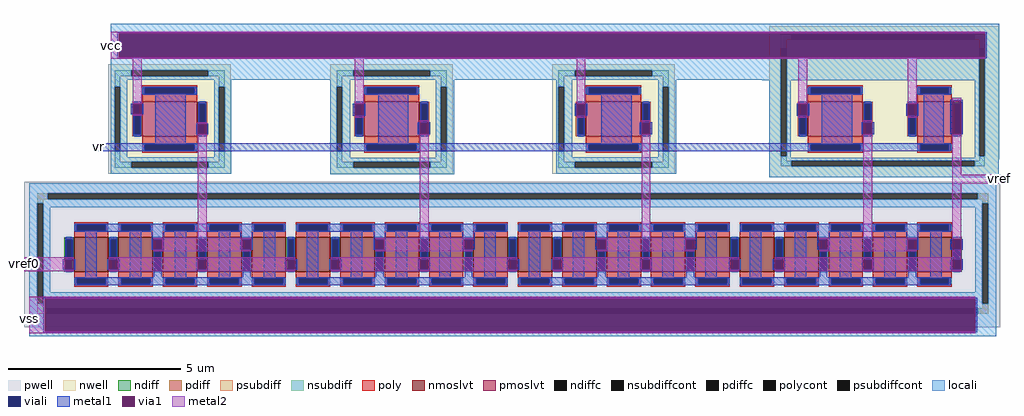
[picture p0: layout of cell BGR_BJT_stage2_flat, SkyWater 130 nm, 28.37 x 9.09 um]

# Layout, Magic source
magic
tech sky130A
magscale 1 2
<< nwell >>
rect -437 1479 275 2117
rect 853 1479 1565 2117
rect 2143 1479 2855 2117
rect 3404 1459 4739 2338
<< pwell >>
rect -928 587 4746 1434
<< pmoslvt >>
rect -241 1698 79 1898
rect 1049 1698 1369 1898
rect 2339 1698 2659 1898
rect 3629 1698 3949 1898
rect 4265 1698 4465 1898
<< nmoslvt >>
rect -637 911 -437 1111
rect -379 911 -179 1111
rect -121 911 79 1111
rect 137 911 337 1111
rect 395 911 595 1111
rect 653 911 853 1111
rect 911 911 1111 1111
rect 1169 911 1369 1111
rect 1427 911 1627 1111
rect 1685 911 1885 1111
rect 1943 911 2143 1111
rect 2201 911 2401 1111
rect 2459 911 2659 1111
rect 2717 911 2917 1111
rect 2975 911 3175 1111
rect 3233 911 3433 1111
rect 3491 911 3691 1111
rect 3749 911 3949 1111
rect 4007 911 4207 1111
rect 4265 911 4465 1111
<< ndiff >>
rect -695 1099 -637 1111
rect -695 923 -683 1099
rect -649 923 -637 1099
rect -695 911 -637 923
rect -437 1099 -379 1111
rect -437 923 -425 1099
rect -391 923 -379 1099
rect -437 911 -379 923
rect -179 1099 -121 1111
rect -179 923 -167 1099
rect -133 923 -121 1099
rect -179 911 -121 923
rect 79 1099 137 1111
rect 79 923 91 1099
rect 125 923 137 1099
rect 79 911 137 923
rect 337 1099 395 1111
rect 337 923 349 1099
rect 383 923 395 1099
rect 337 911 395 923
rect 595 1099 653 1111
rect 595 923 607 1099
rect 641 923 653 1099
rect 595 911 653 923
rect 853 1099 911 1111
rect 853 923 865 1099
rect 899 923 911 1099
rect 853 911 911 923
rect 1111 1099 1169 1111
rect 1111 923 1123 1099
rect 1157 923 1169 1099
rect 1111 911 1169 923
rect 1369 1099 1427 1111
rect 1369 923 1381 1099
rect 1415 923 1427 1099
rect 1369 911 1427 923
rect 1627 1099 1685 1111
rect 1627 923 1639 1099
rect 1673 923 1685 1099
rect 1627 911 1685 923
rect 1885 1099 1943 1111
rect 1885 923 1897 1099
rect 1931 923 1943 1099
rect 1885 911 1943 923
rect 2143 1099 2201 1111
rect 2143 923 2155 1099
rect 2189 923 2201 1099
rect 2143 911 2201 923
rect 2401 1099 2459 1111
rect 2401 923 2413 1099
rect 2447 923 2459 1099
rect 2401 911 2459 923
rect 2659 1099 2717 1111
rect 2659 923 2671 1099
rect 2705 923 2717 1099
rect 2659 911 2717 923
rect 2917 1099 2975 1111
rect 2917 923 2929 1099
rect 2963 923 2975 1099
rect 2917 911 2975 923
rect 3175 1099 3233 1111
rect 3175 923 3187 1099
rect 3221 923 3233 1099
rect 3175 911 3233 923
rect 3433 1099 3491 1111
rect 3433 923 3445 1099
rect 3479 923 3491 1099
rect 3433 911 3491 923
rect 3691 1099 3749 1111
rect 3691 923 3703 1099
rect 3737 923 3749 1099
rect 3691 911 3749 923
rect 3949 1099 4007 1111
rect 3949 923 3961 1099
rect 3995 923 4007 1099
rect 3949 911 4007 923
rect 4207 1099 4265 1111
rect 4207 923 4219 1099
rect 4253 923 4265 1099
rect 4207 911 4265 923
rect 4465 1099 4523 1111
rect 4465 923 4477 1099
rect 4511 923 4523 1099
rect 4465 911 4523 923
<< pdiff >>
rect -299 1886 -241 1898
rect -299 1710 -287 1886
rect -253 1710 -241 1886
rect -299 1698 -241 1710
rect 79 1886 137 1898
rect 79 1710 91 1886
rect 125 1710 137 1886
rect 79 1698 137 1710
rect 991 1886 1049 1898
rect 991 1710 1003 1886
rect 1037 1710 1049 1886
rect 991 1698 1049 1710
rect 1369 1886 1427 1898
rect 1369 1710 1381 1886
rect 1415 1710 1427 1886
rect 1369 1698 1427 1710
rect 2281 1886 2339 1898
rect 2281 1710 2293 1886
rect 2327 1710 2339 1886
rect 2281 1698 2339 1710
rect 2659 1886 2717 1898
rect 2659 1710 2671 1886
rect 2705 1710 2717 1886
rect 2659 1698 2717 1710
rect 3571 1886 3629 1898
rect 3571 1710 3583 1886
rect 3617 1710 3629 1886
rect 3571 1698 3629 1710
rect 3949 1886 4007 1898
rect 3949 1710 3961 1886
rect 3995 1710 4007 1886
rect 3949 1698 4007 1710
rect 4207 1886 4265 1898
rect 4207 1710 4219 1886
rect 4253 1710 4265 1886
rect 4207 1698 4265 1710
rect 4465 1886 4523 1898
rect 4465 1710 4477 1886
rect 4511 1710 4523 1886
rect 4465 1698 4523 1710
<< ndiffc >>
rect -683 923 -649 1099
rect -425 923 -391 1099
rect -167 923 -133 1099
rect 91 923 125 1099
rect 349 923 383 1099
rect 607 923 641 1099
rect 865 923 899 1099
rect 1123 923 1157 1099
rect 1381 923 1415 1099
rect 1639 923 1673 1099
rect 1897 923 1931 1099
rect 2155 923 2189 1099
rect 2413 923 2447 1099
rect 2671 923 2705 1099
rect 2929 923 2963 1099
rect 3187 923 3221 1099
rect 3445 923 3479 1099
rect 3703 923 3737 1099
rect 3961 923 3995 1099
rect 4219 923 4253 1099
rect 4477 923 4511 1099
<< pdiffc >>
rect -287 1710 -253 1886
rect 91 1710 125 1886
rect 1003 1710 1037 1886
rect 1381 1710 1415 1886
rect 2293 1710 2327 1886
rect 2671 1710 2705 1886
rect 3583 1710 3617 1886
rect 3961 1710 3995 1886
rect 4219 1710 4253 1886
rect 4477 1710 4511 1886
<< psubdiff >>
rect -850 1333 -790 1367
rect 4618 1333 4678 1367
rect -850 1307 -816 1333
rect 4644 1307 4678 1333
rect -850 699 -816 725
rect 4644 699 4678 725
rect -850 665 -790 699
rect 4618 665 4678 699
<< nsubdiff >>
rect 3472 2260 3532 2294
rect 4598 2260 4658 2294
rect 3472 2206 3506 2260
rect -401 2047 -305 2081
rect 143 2047 239 2081
rect -401 1985 -367 2047
rect 205 1985 239 2047
rect -401 1549 -367 1611
rect 205 1549 239 1611
rect -401 1515 -305 1549
rect 143 1515 239 1549
rect 889 2047 985 2081
rect 1433 2047 1529 2081
rect 889 1985 923 2047
rect 1495 1985 1529 2047
rect 889 1549 923 1611
rect 1495 1549 1529 1611
rect 889 1515 985 1549
rect 1433 1515 1529 1549
rect 2179 2047 2275 2081
rect 2723 2047 2819 2081
rect 2179 1985 2213 2047
rect 2785 1985 2819 2047
rect 2179 1549 2213 1611
rect 2785 1549 2819 1611
rect 2179 1515 2275 1549
rect 2723 1515 2819 1549
rect 4624 2206 4658 2260
rect 3472 1556 3506 1582
rect 4624 1556 4658 1582
rect 3472 1522 3532 1556
rect 4598 1522 4658 1556
<< psubdiffcont >>
rect -790 1333 4618 1367
rect -850 725 -816 1307
rect 4644 725 4678 1307
rect -790 665 4618 699
<< nsubdiffcont >>
rect 3532 2260 4598 2294
rect -305 2047 143 2081
rect -401 1611 -367 1985
rect 205 1611 239 1985
rect -305 1515 143 1549
rect 985 2047 1433 2081
rect 889 1611 923 1985
rect 1495 1611 1529 1985
rect 985 1515 1433 1549
rect 2275 2047 2723 2081
rect 2179 1611 2213 1985
rect 2785 1611 2819 1985
rect 2275 1515 2723 1549
rect 3472 1582 3506 2206
rect 4624 1582 4658 2206
rect 3532 1522 4598 1556
<< poly >>
rect -241 1979 79 1995
rect -241 1945 -225 1979
rect 63 1945 79 1979
rect -241 1898 79 1945
rect -241 1651 79 1698
rect -241 1617 -225 1651
rect 63 1617 79 1651
rect -241 1601 79 1617
rect 1049 1979 1369 1995
rect 1049 1945 1065 1979
rect 1353 1945 1369 1979
rect 1049 1898 1369 1945
rect 1049 1651 1369 1698
rect 1049 1617 1065 1651
rect 1353 1617 1369 1651
rect 1049 1601 1369 1617
rect 2339 1979 2659 1995
rect 2339 1945 2355 1979
rect 2643 1945 2659 1979
rect 2339 1898 2659 1945
rect 2339 1651 2659 1698
rect 2339 1617 2355 1651
rect 2643 1617 2659 1651
rect 2339 1601 2659 1617
rect 3629 1979 3949 1995
rect 3629 1945 3645 1979
rect 3933 1945 3949 1979
rect 3629 1898 3949 1945
rect 4265 1979 4465 1995
rect 4265 1945 4281 1979
rect 4449 1945 4465 1979
rect 4265 1898 4465 1945
rect 3629 1651 3949 1698
rect 3629 1617 3645 1651
rect 3933 1617 3949 1651
rect 3629 1601 3949 1617
rect 4265 1651 4465 1698
rect 4265 1617 4281 1651
rect 4449 1617 4465 1651
rect 4265 1601 4465 1617
rect -637 1183 -437 1199
rect -637 1149 -621 1183
rect -453 1149 -437 1183
rect -637 1111 -437 1149
rect -379 1183 -179 1199
rect -379 1149 -363 1183
rect -195 1149 -179 1183
rect -379 1111 -179 1149
rect -121 1183 79 1199
rect -121 1149 -105 1183
rect 63 1149 79 1183
rect -121 1111 79 1149
rect 137 1183 337 1199
rect 137 1149 153 1183
rect 321 1149 337 1183
rect 137 1111 337 1149
rect 395 1183 595 1199
rect 395 1149 411 1183
rect 579 1149 595 1183
rect 395 1111 595 1149
rect 653 1183 853 1199
rect 653 1149 669 1183
rect 837 1149 853 1183
rect 653 1111 853 1149
rect 911 1183 1111 1199
rect 911 1149 927 1183
rect 1095 1149 1111 1183
rect 911 1111 1111 1149
rect 1169 1183 1369 1199
rect 1169 1149 1185 1183
rect 1353 1149 1369 1183
rect 1169 1111 1369 1149
rect 1427 1183 1627 1199
rect 1427 1149 1443 1183
rect 1611 1149 1627 1183
rect 1427 1111 1627 1149
rect 1685 1183 1885 1199
rect 1685 1149 1701 1183
rect 1869 1149 1885 1183
rect 1685 1111 1885 1149
rect 1943 1183 2143 1199
rect 1943 1149 1959 1183
rect 2127 1149 2143 1183
rect 1943 1111 2143 1149
rect 2201 1183 2401 1199
rect 2201 1149 2217 1183
rect 2385 1149 2401 1183
rect 2201 1111 2401 1149
rect 2459 1183 2659 1199
rect 2459 1149 2475 1183
rect 2643 1149 2659 1183
rect 2459 1111 2659 1149
rect 2717 1183 2917 1199
rect 2717 1149 2733 1183
rect 2901 1149 2917 1183
rect 2717 1111 2917 1149
rect 2975 1183 3175 1199
rect 2975 1149 2991 1183
rect 3159 1149 3175 1183
rect 2975 1111 3175 1149
rect 3233 1183 3433 1199
rect 3233 1149 3249 1183
rect 3417 1149 3433 1183
rect 3233 1111 3433 1149
rect 3491 1183 3691 1199
rect 3491 1149 3507 1183
rect 3675 1149 3691 1183
rect 3491 1111 3691 1149
rect 3749 1183 3949 1199
rect 3749 1149 3765 1183
rect 3933 1149 3949 1183
rect 3749 1111 3949 1149
rect 4007 1183 4207 1199
rect 4007 1149 4023 1183
rect 4191 1149 4207 1183
rect 4007 1111 4207 1149
rect 4265 1183 4465 1199
rect 4265 1149 4281 1183
rect 4449 1149 4465 1183
rect 4265 1111 4465 1149
rect -637 873 -437 911
rect -637 839 -621 873
rect -453 839 -437 873
rect -637 823 -437 839
rect -379 873 -179 911
rect -379 839 -363 873
rect -195 839 -179 873
rect -379 823 -179 839
rect -121 873 79 911
rect -121 839 -105 873
rect 63 839 79 873
rect -121 823 79 839
rect 137 873 337 911
rect 137 839 153 873
rect 321 839 337 873
rect 137 823 337 839
rect 395 873 595 911
rect 395 839 411 873
rect 579 839 595 873
rect 395 823 595 839
rect 653 873 853 911
rect 653 839 669 873
rect 837 839 853 873
rect 653 823 853 839
rect 911 873 1111 911
rect 911 839 927 873
rect 1095 839 1111 873
rect 911 823 1111 839
rect 1169 873 1369 911
rect 1169 839 1185 873
rect 1353 839 1369 873
rect 1169 823 1369 839
rect 1427 873 1627 911
rect 1427 839 1443 873
rect 1611 839 1627 873
rect 1427 823 1627 839
rect 1685 873 1885 911
rect 1685 839 1701 873
rect 1869 839 1885 873
rect 1685 823 1885 839
rect 1943 873 2143 911
rect 1943 839 1959 873
rect 2127 839 2143 873
rect 1943 823 2143 839
rect 2201 873 2401 911
rect 2201 839 2217 873
rect 2385 839 2401 873
rect 2201 823 2401 839
rect 2459 873 2659 911
rect 2459 839 2475 873
rect 2643 839 2659 873
rect 2459 823 2659 839
rect 2717 873 2917 911
rect 2717 839 2733 873
rect 2901 839 2917 873
rect 2717 823 2917 839
rect 2975 873 3175 911
rect 2975 839 2991 873
rect 3159 839 3175 873
rect 2975 823 3175 839
rect 3233 873 3433 911
rect 3233 839 3249 873
rect 3417 839 3433 873
rect 3233 823 3433 839
rect 3491 873 3691 911
rect 3491 839 3507 873
rect 3675 839 3691 873
rect 3491 823 3691 839
rect 3749 873 3949 911
rect 3749 839 3765 873
rect 3933 839 3949 873
rect 3749 823 3949 839
rect 4007 873 4207 911
rect 4007 839 4023 873
rect 4191 839 4207 873
rect 4007 823 4207 839
rect 4265 873 4465 911
rect 4265 839 4281 873
rect 4449 839 4465 873
rect 4265 823 4465 839
<< polycont >>
rect -225 1945 63 1979
rect -225 1617 63 1651
rect 1065 1945 1353 1979
rect 1065 1617 1353 1651
rect 2355 1945 2643 1979
rect 2355 1617 2643 1651
rect 3645 1945 3933 1979
rect 4281 1945 4449 1979
rect 3645 1617 3933 1651
rect 4281 1617 4449 1651
rect -621 1149 -453 1183
rect -363 1149 -195 1183
rect -105 1149 63 1183
rect 153 1149 321 1183
rect 411 1149 579 1183
rect 669 1149 837 1183
rect 927 1149 1095 1183
rect 1185 1149 1353 1183
rect 1443 1149 1611 1183
rect 1701 1149 1869 1183
rect 1959 1149 2127 1183
rect 2217 1149 2385 1183
rect 2475 1149 2643 1183
rect 2733 1149 2901 1183
rect 2991 1149 3159 1183
rect 3249 1149 3417 1183
rect 3507 1149 3675 1183
rect 3765 1149 3933 1183
rect 4023 1149 4191 1183
rect 4281 1149 4449 1183
rect -621 839 -453 873
rect -363 839 -195 873
rect -105 839 63 873
rect 153 839 321 873
rect 411 839 579 873
rect 669 839 837 873
rect 927 839 1095 873
rect 1185 839 1353 873
rect 1443 839 1611 873
rect 1701 839 1869 873
rect 1959 839 2127 873
rect 2217 839 2385 873
rect 2475 839 2643 873
rect 2733 839 2901 873
rect 2991 839 3159 873
rect 3249 839 3417 873
rect 3507 839 3675 873
rect 3765 839 3933 873
rect 4023 839 4191 873
rect 4281 839 4449 873
<< locali >>
rect -423 2296 4741 2352
rect -423 2157 -374 2296
rect -423 2081 3472 2157
rect -423 2047 -305 2081
rect 143 2047 985 2081
rect 1433 2047 2275 2081
rect 2723 2047 3472 2081
rect -423 2027 3472 2047
rect -423 1985 -329 2027
rect -423 1611 -401 1985
rect -367 1611 -329 1985
rect 177 1985 278 2027
rect -241 1945 -225 1979
rect 63 1945 79 1979
rect -287 1886 -253 1902
rect -287 1694 -253 1710
rect 91 1886 125 1902
rect 91 1694 125 1710
rect -241 1617 -225 1651
rect 63 1617 79 1651
rect -423 1576 -329 1611
rect 177 1611 205 1985
rect 239 1611 278 1985
rect 177 1576 278 1611
rect -423 1549 278 1576
rect -423 1515 -305 1549
rect 143 1515 278 1549
rect -423 1479 278 1515
rect 852 1985 968 2027
rect 852 1611 889 1985
rect 923 1611 968 1985
rect 1465 1985 1572 2027
rect 1049 1945 1065 1979
rect 1353 1945 1369 1979
rect 1003 1886 1037 1902
rect 1003 1694 1037 1710
rect 1381 1886 1415 1902
rect 1381 1694 1415 1710
rect 1049 1617 1065 1651
rect 1353 1617 1369 1651
rect 852 1573 968 1611
rect 1465 1611 1495 1985
rect 1529 1611 1572 1985
rect 1465 1573 1572 1611
rect 852 1549 1572 1573
rect 852 1515 985 1549
rect 1433 1515 1572 1549
rect 852 1476 1572 1515
rect 2165 1985 2258 2027
rect 2165 1611 2179 1985
rect 2213 1611 2258 1985
rect 2758 1985 2865 2027
rect 3364 2023 3472 2027
rect 2339 1945 2355 1979
rect 2643 1945 2659 1979
rect 2293 1886 2327 1902
rect 2293 1694 2327 1710
rect 2671 1886 2705 1902
rect 2671 1694 2705 1710
rect 2339 1617 2355 1651
rect 2643 1617 2659 1651
rect 2165 1577 2258 1611
rect 2758 1611 2785 1985
rect 2819 1611 2865 1985
rect 2758 1577 2865 1611
rect 2165 1549 2865 1577
rect 2165 1515 2275 1549
rect 2723 1515 2865 1549
rect 2165 1480 2865 1515
rect 3404 1582 3472 2023
rect 3506 2023 4624 2157
rect 3506 1582 3530 2023
rect 3629 1945 3645 1979
rect 3933 1945 3949 1979
rect 4265 1945 4281 1979
rect 4449 1945 4465 1979
rect 3583 1886 3617 1902
rect 3583 1694 3617 1710
rect 3961 1886 3995 1902
rect 3961 1694 3995 1710
rect 4219 1886 4253 1902
rect 4219 1694 4253 1710
rect 4477 1886 4511 1902
rect 4477 1694 4511 1710
rect 3629 1617 3645 1651
rect 3933 1617 3949 1651
rect 4265 1617 4281 1651
rect 4449 1617 4465 1651
rect 3404 1572 3530 1582
rect 4598 1582 4624 2023
rect 4658 1582 4741 2296
rect 4598 1572 4741 1582
rect 3404 1563 4741 1572
rect 3404 1556 4740 1563
rect 3404 1522 3532 1556
rect 4598 1522 4740 1556
rect 3404 1459 4740 1522
rect -897 1367 4725 1425
rect -897 1333 -790 1367
rect 4618 1333 4725 1367
rect -897 1307 4725 1333
rect -897 725 -850 1307
rect -816 1286 4644 1307
rect -816 791 -774 1286
rect -637 1149 -621 1183
rect -453 1149 -437 1183
rect -379 1149 -363 1183
rect -195 1149 -179 1183
rect -121 1149 -105 1183
rect 63 1149 79 1183
rect 137 1149 153 1183
rect 321 1149 337 1183
rect 395 1149 411 1183
rect 579 1149 595 1183
rect 653 1149 669 1183
rect 837 1149 853 1183
rect 911 1149 927 1183
rect 1095 1149 1111 1183
rect 1169 1149 1185 1183
rect 1353 1149 1369 1183
rect 1427 1149 1443 1183
rect 1611 1149 1627 1183
rect 1685 1149 1701 1183
rect 1869 1149 1885 1183
rect 1943 1149 1959 1183
rect 2127 1149 2143 1183
rect 2201 1149 2217 1183
rect 2385 1149 2401 1183
rect 2459 1149 2475 1183
rect 2643 1149 2659 1183
rect 2717 1149 2733 1183
rect 2901 1149 2917 1183
rect 2975 1149 2991 1183
rect 3159 1149 3175 1183
rect 3233 1149 3249 1183
rect 3417 1149 3433 1183
rect 3491 1149 3507 1183
rect 3675 1149 3691 1183
rect 3749 1149 3765 1183
rect 3933 1149 3949 1183
rect 4007 1149 4023 1183
rect 4191 1149 4207 1183
rect 4265 1149 4281 1183
rect 4449 1149 4465 1183
rect -683 1099 -649 1115
rect -683 907 -649 923
rect -425 1099 -391 1115
rect -425 907 -391 923
rect -167 1099 -133 1115
rect -167 907 -133 923
rect 91 1099 125 1115
rect 91 907 125 923
rect 349 1099 383 1115
rect 349 907 383 923
rect 607 1099 641 1115
rect 607 907 641 923
rect 865 1099 899 1115
rect 865 907 899 923
rect 1123 1099 1157 1115
rect 1123 907 1157 923
rect 1381 1099 1415 1115
rect 1381 907 1415 923
rect 1639 1099 1673 1115
rect 1639 907 1673 923
rect 1897 1099 1931 1115
rect 1897 907 1931 923
rect 2155 1099 2189 1115
rect 2155 907 2189 923
rect 2413 1099 2447 1115
rect 2413 907 2447 923
rect 2671 1099 2705 1115
rect 2671 907 2705 923
rect 2929 1099 2963 1115
rect 2929 907 2963 923
rect 3187 1099 3221 1115
rect 3187 907 3221 923
rect 3445 1099 3479 1115
rect 3445 907 3479 923
rect 3703 1099 3737 1115
rect 3703 907 3737 923
rect 3961 1099 3995 1115
rect 3961 907 3995 923
rect 4219 1099 4253 1115
rect 4219 907 4253 923
rect 4477 1099 4511 1115
rect 4477 907 4511 923
rect -637 839 -621 873
rect -453 839 -437 873
rect -379 839 -363 873
rect -195 839 -179 873
rect -121 839 -105 873
rect 63 839 79 873
rect 137 839 153 873
rect 321 839 337 873
rect 395 839 411 873
rect 579 839 595 873
rect 653 839 669 873
rect 837 839 853 873
rect 911 839 927 873
rect 1095 839 1111 873
rect 1169 839 1185 873
rect 1353 839 1369 873
rect 1427 839 1443 873
rect 1611 839 1627 873
rect 1685 839 1701 873
rect 1869 839 1885 873
rect 1943 839 1959 873
rect 2127 839 2143 873
rect 2201 839 2217 873
rect 2385 839 2401 873
rect 2459 839 2475 873
rect 2643 839 2659 873
rect 2717 839 2733 873
rect 2901 839 2917 873
rect 2975 839 2991 873
rect 3159 839 3175 873
rect 3233 839 3249 873
rect 3417 839 3433 873
rect 3491 839 3507 873
rect 3675 839 3691 873
rect 3749 839 3765 873
rect 3933 839 3949 873
rect 4007 839 4023 873
rect 4191 839 4207 873
rect 4265 839 4281 873
rect 4449 839 4465 873
rect 4602 791 4644 1286
rect -816 754 4644 791
rect -816 725 -804 754
rect -897 563 -804 725
rect 4603 725 4644 754
rect 4678 725 4725 1307
rect 4603 699 4725 725
rect 4618 665 4725 699
rect 4603 563 4725 665
rect -897 535 4725 563
<< viali >>
rect -374 2294 4658 2296
rect -374 2260 3532 2294
rect 3532 2260 4598 2294
rect 4598 2260 4658 2294
rect -374 2206 4658 2260
rect -374 2157 3472 2206
rect 3472 2157 3506 2206
rect 3506 2157 4624 2206
rect 4624 2157 4658 2206
rect -225 1945 63 1979
rect -287 1710 -253 1886
rect 91 1710 125 1886
rect -225 1617 63 1651
rect 1065 1945 1353 1979
rect 1003 1710 1037 1886
rect 1381 1710 1415 1886
rect 1065 1617 1353 1651
rect 2355 1945 2643 1979
rect 2293 1710 2327 1886
rect 2671 1710 2705 1886
rect 2355 1617 2643 1651
rect 3645 1945 3933 1979
rect 4281 1945 4449 1979
rect 3583 1710 3617 1886
rect 3961 1710 3995 1886
rect 4219 1710 4253 1886
rect 4477 1710 4511 1886
rect 3645 1617 3933 1651
rect 4281 1617 4449 1651
rect -621 1149 -453 1183
rect -363 1149 -195 1183
rect -105 1149 63 1183
rect 153 1149 321 1183
rect 411 1149 579 1183
rect 669 1149 837 1183
rect 927 1149 1095 1183
rect 1185 1149 1353 1183
rect 1443 1149 1611 1183
rect 1701 1149 1869 1183
rect 1959 1149 2127 1183
rect 2217 1149 2385 1183
rect 2475 1149 2643 1183
rect 2733 1149 2901 1183
rect 2991 1149 3159 1183
rect 3249 1149 3417 1183
rect 3507 1149 3675 1183
rect 3765 1149 3933 1183
rect 4023 1149 4191 1183
rect 4281 1149 4449 1183
rect -683 923 -649 1099
rect -425 923 -391 1099
rect -167 923 -133 1099
rect 91 923 125 1099
rect 349 923 383 1099
rect 607 923 641 1099
rect 865 923 899 1099
rect 1123 923 1157 1099
rect 1381 923 1415 1099
rect 1639 923 1673 1099
rect 1897 923 1931 1099
rect 2155 923 2189 1099
rect 2413 923 2447 1099
rect 2671 923 2705 1099
rect 2929 923 2963 1099
rect 3187 923 3221 1099
rect 3445 923 3479 1099
rect 3703 923 3737 1099
rect 3961 923 3995 1099
rect 4219 923 4253 1099
rect 4477 923 4511 1099
rect -621 839 -453 873
rect -363 839 -195 873
rect -105 839 63 873
rect 153 839 321 873
rect 411 839 579 873
rect 669 839 837 873
rect 927 839 1095 873
rect 1185 839 1353 873
rect 1443 839 1611 873
rect 1701 839 1869 873
rect 1959 839 2127 873
rect 2217 839 2385 873
rect 2475 839 2643 873
rect 2733 839 2901 873
rect 2991 839 3159 873
rect 3249 839 3417 873
rect 3507 839 3675 873
rect 3765 839 3933 873
rect 4023 839 4191 873
rect 4281 839 4449 873
rect -804 699 4603 754
rect -804 665 -790 699
rect -790 665 4603 699
rect -804 563 4603 665
<< metal1 >>
rect -386 2296 4670 2302
rect -386 2157 -374 2296
rect 4658 2157 4670 2296
rect -386 2151 4670 2157
rect -237 1979 75 1985
rect -237 1945 -225 1979
rect 63 1945 75 1979
rect -237 1939 75 1945
rect 1053 1979 1365 1985
rect 1053 1945 1065 1979
rect 1353 1945 1365 1979
rect 1053 1939 1365 1945
rect 2343 1979 2655 1985
rect 2343 1945 2355 1979
rect 2643 1945 2655 1979
rect 2343 1939 2655 1945
rect 3633 1979 3945 1985
rect 3633 1945 3645 1979
rect 3933 1945 3945 1979
rect 3633 1939 3945 1945
rect 4269 1979 4461 1985
rect 4269 1945 4281 1979
rect 4449 1945 4461 1979
rect 4269 1939 4461 1945
rect -293 1886 -247 1898
rect -306 1826 -296 1886
rect -244 1826 -234 1886
rect -293 1710 -287 1826
rect -253 1710 -247 1826
rect -293 1698 -247 1710
rect -164 1657 11 1939
rect 85 1886 131 1898
rect 997 1886 1043 1898
rect 85 1770 91 1886
rect 125 1770 131 1886
rect 984 1816 994 1886
rect 1046 1816 1056 1886
rect 72 1710 82 1770
rect 134 1710 144 1770
rect 997 1710 1003 1816
rect 1037 1710 1043 1816
rect 85 1698 131 1710
rect 997 1698 1043 1710
rect 1132 1657 1307 1939
rect 1375 1886 1421 1898
rect 2287 1886 2333 1898
rect 1375 1780 1381 1886
rect 1415 1780 1421 1886
rect 2274 1816 2284 1886
rect 2336 1816 2346 1886
rect 1362 1710 1372 1780
rect 1424 1710 1434 1780
rect 2287 1710 2293 1816
rect 2327 1710 2333 1816
rect 1375 1698 1421 1710
rect 2287 1698 2333 1710
rect 2429 1657 2604 1939
rect 2665 1886 2711 1898
rect 3577 1886 3623 1898
rect 2665 1780 2671 1886
rect 2705 1780 2711 1886
rect 3564 1816 3574 1886
rect 3626 1816 3636 1886
rect 2652 1710 2662 1780
rect 2714 1710 2724 1780
rect 3577 1710 3583 1816
rect 3617 1710 3623 1816
rect 2665 1698 2711 1710
rect 3577 1698 3623 1710
rect 3711 1657 3886 1939
rect 3955 1886 4001 1898
rect 4213 1886 4259 1898
rect 3955 1780 3961 1886
rect 3995 1780 4001 1886
rect 4200 1816 4210 1886
rect 4262 1816 4272 1886
rect 3942 1710 3952 1780
rect 4004 1710 4014 1780
rect 4213 1710 4219 1816
rect 4253 1710 4259 1816
rect 3955 1698 4001 1710
rect 4213 1698 4259 1710
rect 4304 1657 4418 1939
rect 4458 1902 4530 1910
rect 4458 1710 4468 1902
rect 4520 1710 4530 1902
rect 4471 1698 4517 1710
rect -495 1651 4461 1657
rect -495 1617 -225 1651
rect 63 1617 1065 1651
rect 1353 1617 2355 1651
rect 2643 1617 3645 1651
rect 3933 1617 4281 1651
rect 4449 1617 4461 1651
rect -495 1611 4461 1617
rect -633 1183 591 1189
rect -633 1149 -621 1183
rect -453 1149 -363 1183
rect -195 1149 -105 1183
rect 63 1149 153 1183
rect 321 1149 411 1183
rect 579 1149 591 1183
rect -633 1143 591 1149
rect 657 1183 1881 1189
rect 657 1149 669 1183
rect 837 1149 927 1183
rect 1095 1149 1185 1183
rect 1353 1149 1443 1183
rect 1611 1149 1701 1183
rect 1869 1149 1881 1183
rect 657 1143 1881 1149
rect 1947 1183 3171 1189
rect 1947 1149 1959 1183
rect 2127 1149 2217 1183
rect 2385 1149 2475 1183
rect 2643 1149 2733 1183
rect 2901 1149 2991 1183
rect 3159 1149 3171 1183
rect 1947 1143 3171 1149
rect 3237 1183 4461 1189
rect 3237 1149 3249 1183
rect 3417 1149 3507 1183
rect 3675 1149 3765 1183
rect 3933 1149 4023 1183
rect 4191 1149 4281 1183
rect 4449 1149 4461 1183
rect 3237 1143 4461 1149
rect -689 1099 -643 1111
rect -689 983 -683 1099
rect -649 983 -643 1099
rect -702 923 -692 983
rect -640 923 -630 983
rect -689 911 -643 923
rect -572 879 -505 1143
rect -431 1099 -385 1111
rect -431 983 -425 1099
rect -391 983 -385 1099
rect -444 923 -434 983
rect -382 923 -372 983
rect -431 911 -385 923
rect -314 879 -247 1143
rect -186 1099 -114 1143
rect -186 1039 -176 1099
rect -124 1039 -114 1099
rect -173 923 -167 1039
rect -133 923 -127 1039
rect -173 879 -127 923
rect -52 879 15 1143
rect 85 1099 131 1111
rect 85 983 91 1099
rect 125 983 131 1099
rect 72 923 82 983
rect 134 923 144 983
rect 85 911 131 923
rect 205 879 272 1143
rect 330 1099 402 1143
rect 330 1039 340 1099
rect 392 1039 402 1099
rect 343 923 349 1039
rect 383 923 389 1039
rect 343 879 389 923
rect 465 879 532 1143
rect 601 1099 647 1111
rect 601 983 607 1099
rect 641 983 647 1099
rect 588 923 598 983
rect 650 923 660 983
rect 601 911 647 923
rect 717 879 784 1143
rect 859 1099 905 1111
rect 859 983 865 1099
rect 899 983 905 1099
rect 846 923 856 983
rect 908 923 918 983
rect 859 911 905 923
rect 971 879 1038 1143
rect 1104 1099 1176 1143
rect 1104 1039 1114 1099
rect 1166 1039 1176 1099
rect 1117 923 1123 1039
rect 1157 923 1163 1039
rect 1117 879 1163 923
rect 1232 879 1299 1143
rect 1375 1099 1421 1111
rect 1375 983 1381 1099
rect 1415 983 1421 1099
rect 1362 923 1372 983
rect 1424 923 1434 983
rect 1375 911 1421 923
rect 1485 879 1552 1143
rect 1620 1099 1692 1143
rect 1620 1039 1630 1099
rect 1682 1039 1692 1099
rect 1633 923 1639 1039
rect 1673 923 1679 1039
rect 1633 879 1679 923
rect 1747 879 1814 1143
rect 1891 1099 1937 1111
rect 1891 983 1897 1099
rect 1931 983 1937 1099
rect 1878 923 1888 983
rect 1940 923 1950 983
rect 1891 911 1937 923
rect 2005 879 2072 1143
rect 2149 1099 2195 1111
rect 2149 983 2155 1099
rect 2189 983 2195 1099
rect 2136 923 2146 983
rect 2198 923 2208 983
rect 2149 911 2195 923
rect 2262 879 2329 1143
rect 2394 1099 2466 1143
rect 2394 1039 2404 1099
rect 2456 1039 2466 1099
rect 2407 923 2413 1039
rect 2447 923 2453 1039
rect 2407 879 2453 923
rect 2523 879 2590 1143
rect 2665 1099 2711 1111
rect 2665 983 2671 1099
rect 2705 983 2711 1099
rect 2652 923 2662 983
rect 2714 923 2724 983
rect 2665 911 2711 923
rect 2782 879 2849 1143
rect 2910 1099 2982 1143
rect 2910 1039 2920 1099
rect 2972 1039 2982 1099
rect 2923 923 2929 1039
rect 2963 923 2969 1039
rect 2923 879 2969 923
rect 3032 879 3099 1143
rect 3181 1099 3227 1111
rect 3181 983 3187 1099
rect 3221 983 3227 1099
rect 3168 923 3178 983
rect 3230 923 3240 983
rect 3181 911 3227 923
rect 3292 879 3359 1143
rect 3439 1099 3485 1111
rect 3439 983 3445 1099
rect 3479 983 3485 1099
rect 3426 923 3436 983
rect 3488 923 3498 983
rect 3439 911 3485 923
rect 3554 879 3621 1143
rect 3684 1099 3756 1143
rect 3684 1039 3694 1099
rect 3746 1039 3756 1099
rect 3697 923 3703 1039
rect 3737 923 3743 1039
rect 3697 879 3743 923
rect 3814 879 3881 1143
rect 3955 1099 4001 1111
rect 3955 983 3961 1099
rect 3995 983 4001 1099
rect 3942 923 3952 983
rect 4004 923 4014 983
rect 3955 911 4001 923
rect 4073 879 4140 1143
rect 4200 1099 4272 1143
rect 4200 1039 4210 1099
rect 4262 1039 4272 1099
rect 4213 923 4219 1039
rect 4253 923 4259 1039
rect 4213 879 4259 923
rect 4340 879 4407 1143
rect 4471 1099 4517 1111
rect 4458 1039 4468 1099
rect 4520 1039 4530 1099
rect 4471 983 4477 1039
rect 4511 983 4517 1039
rect 4458 923 4468 983
rect 4520 923 4530 983
rect 4471 911 4517 923
rect -633 873 591 879
rect -633 839 -621 873
rect -453 839 -363 873
rect -195 839 -105 873
rect 63 839 153 873
rect 321 839 411 873
rect 579 839 591 873
rect -633 833 591 839
rect 657 873 1881 879
rect 657 839 669 873
rect 837 839 927 873
rect 1095 839 1185 873
rect 1353 839 1443 873
rect 1611 839 1701 873
rect 1869 839 1881 873
rect 657 833 1881 839
rect 1947 873 3171 879
rect 1947 839 1959 873
rect 2127 839 2217 873
rect 2385 839 2475 873
rect 2643 839 2733 873
rect 2901 839 2991 873
rect 3159 839 3171 873
rect 1947 833 3171 839
rect 3237 873 4461 879
rect 3237 839 3249 873
rect 3417 839 3507 873
rect 3675 839 3765 873
rect 3933 839 4023 873
rect 4191 839 4281 873
rect 4449 839 4461 873
rect 3237 833 4461 839
rect -816 754 4615 760
rect -816 563 -804 754
rect 4603 563 4615 754
rect -816 557 4615 563
<< via1 >>
rect -374 2157 4658 2296
rect -296 1826 -287 1886
rect -287 1826 -253 1886
rect -253 1826 -244 1886
rect 994 1816 1003 1886
rect 1003 1816 1037 1886
rect 1037 1816 1046 1886
rect 82 1710 91 1770
rect 91 1710 125 1770
rect 125 1710 134 1770
rect 2284 1816 2293 1886
rect 2293 1816 2327 1886
rect 2327 1816 2336 1886
rect 1372 1710 1381 1780
rect 1381 1710 1415 1780
rect 1415 1710 1424 1780
rect 3574 1816 3583 1886
rect 3583 1816 3617 1886
rect 3617 1816 3626 1886
rect 2662 1710 2671 1780
rect 2671 1710 2705 1780
rect 2705 1710 2714 1780
rect 4210 1816 4219 1886
rect 4219 1816 4253 1886
rect 4253 1816 4262 1886
rect 3952 1710 3961 1780
rect 3961 1710 3995 1780
rect 3995 1710 4004 1780
rect 4468 1886 4520 1902
rect 4468 1710 4477 1886
rect 4477 1710 4511 1886
rect 4511 1710 4520 1886
rect -692 923 -683 983
rect -683 923 -649 983
rect -649 923 -640 983
rect -434 923 -425 983
rect -425 923 -391 983
rect -391 923 -382 983
rect -176 1039 -167 1099
rect -167 1039 -133 1099
rect -133 1039 -124 1099
rect 82 923 91 983
rect 91 923 125 983
rect 125 923 134 983
rect 340 1039 349 1099
rect 349 1039 383 1099
rect 383 1039 392 1099
rect 598 923 607 983
rect 607 923 641 983
rect 641 923 650 983
rect 856 923 865 983
rect 865 923 899 983
rect 899 923 908 983
rect 1114 1039 1123 1099
rect 1123 1039 1157 1099
rect 1157 1039 1166 1099
rect 1372 923 1381 983
rect 1381 923 1415 983
rect 1415 923 1424 983
rect 1630 1039 1639 1099
rect 1639 1039 1673 1099
rect 1673 1039 1682 1099
rect 1888 923 1897 983
rect 1897 923 1931 983
rect 1931 923 1940 983
rect 2146 923 2155 983
rect 2155 923 2189 983
rect 2189 923 2198 983
rect 2404 1039 2413 1099
rect 2413 1039 2447 1099
rect 2447 1039 2456 1099
rect 2662 923 2671 983
rect 2671 923 2705 983
rect 2705 923 2714 983
rect 2920 1039 2929 1099
rect 2929 1039 2963 1099
rect 2963 1039 2972 1099
rect 3178 923 3187 983
rect 3187 923 3221 983
rect 3221 923 3230 983
rect 3436 923 3445 983
rect 3445 923 3479 983
rect 3479 923 3488 983
rect 3694 1039 3703 1099
rect 3703 1039 3737 1099
rect 3737 1039 3746 1099
rect 3952 923 3961 983
rect 3961 923 3995 983
rect 3995 923 4004 983
rect 4210 1039 4219 1099
rect 4219 1039 4253 1099
rect 4253 1039 4262 1099
rect 4468 1039 4477 1099
rect 4477 1039 4511 1099
rect 4511 1039 4520 1099
rect 4468 923 4477 983
rect 4477 923 4511 983
rect 4511 923 4520 983
rect -804 563 4603 754
<< metal2 >>
rect -423 2296 4658 2306
rect -423 2157 -374 2296
rect -423 2147 4658 2157
rect -296 1886 -244 2147
rect -296 1816 -244 1826
rect 994 1886 1046 2147
rect 994 1806 1046 1816
rect 2284 1886 2336 2147
rect 2284 1806 2336 1816
rect 3574 1886 3626 2147
rect 3574 1806 3626 1816
rect 4210 1886 4262 2147
rect 4210 1806 4262 1816
rect 4468 1902 4520 1921
rect 1372 1780 1424 1790
rect 82 1770 134 1780
rect 82 1109 134 1710
rect 1372 1109 1424 1710
rect 2662 1780 2714 1790
rect 2662 1109 2714 1710
rect 3952 1780 4004 1790
rect 3952 1109 4004 1710
rect 4468 1474 4520 1710
rect 4468 1422 4746 1474
rect -176 1099 392 1109
rect -124 1039 340 1099
rect -176 1029 392 1039
rect 1114 1099 1682 1109
rect 1166 1039 1630 1099
rect 1114 1029 1682 1039
rect 2404 1099 2972 1109
rect 2456 1039 2920 1099
rect 2404 1029 2972 1039
rect 3694 1099 4262 1109
rect 3746 1039 4210 1099
rect 3694 1029 4262 1039
rect 4468 1099 4520 1422
rect 4468 993 4520 1039
rect -928 983 -640 993
rect -928 923 -692 983
rect -928 913 -640 923
rect -434 983 650 993
rect -382 923 82 983
rect 134 923 598 983
rect -434 913 650 923
rect 856 983 1940 993
rect 908 923 1372 983
rect 1424 923 1888 983
rect 856 913 1940 923
rect 2146 983 3230 993
rect 2198 923 2662 983
rect 2714 923 3178 983
rect 2146 913 3230 923
rect 3436 983 4520 993
rect 3488 923 3952 983
rect 4004 923 4468 983
rect 3436 913 4520 923
rect -897 754 4603 764
rect -897 563 -804 754
rect -897 553 4603 563
<< labels >>
rlabel metal2 -422 2228 -422 2228 3 vcc
port 1 e
rlabel metal2 4745 1450 4745 1450 3 vref
port 3 e
rlabel metal2 -896 637 -896 637 3 vss
port 2 e
rlabel metal2 -927 957 -927 957 3 vref0
port 4 e
rlabel metal1 -494 1637 -494 1637 3 vr
port 5 e
<< end >>
